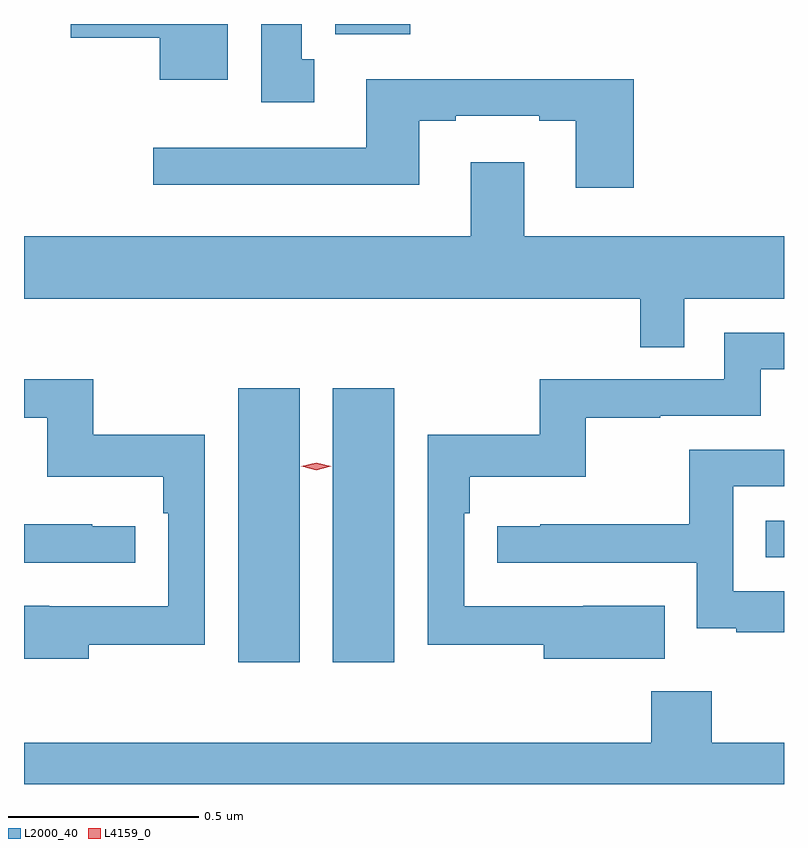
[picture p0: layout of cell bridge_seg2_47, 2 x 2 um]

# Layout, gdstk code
import gdstk
lib = gdstk.Library(unit=1e-6, precision=1e-09)
def R(c, l, rs):  # rectangles x0, y0, x1, y1
    for r in rs: c.add(gdstk.rectangle(r[:2], r[2:], *l))
def P(c, l, *ps):  # polygons
    for p in ps: c.add(gdstk.Polygon(p, *l))
L2000_40 = (2000, 40)
L4159_0 = (4159, 0)

bridge_seg2_47 = lib.new_cell('bridge_seg2_47')
R(bridge_seg2_47, L2000_40, [(976.073,617.376,976.234,618.097), (976.322,617.376,976.483,618.097), (977.461,617.652,977.509,617.748), (976.328,619.028,976.525,619.055)])
P(bridge_seg2_47, L2000_40, [(976.273,618.962),(976.24,618.962),(976.24,619.055),(976.133,619.055),(976.133,618.849),(976.273,618.849)],
  [(976.045,619.055),(975.632,619.055),(975.632,619.019),(975.866,619.019),(975.866,618.908),(976.045,618.908)],
  [(977.114,618.91),(976.409,618.91),(976.409,618.729),(975.849,618.729),(975.849,618.632),(976.549,618.632),(976.549,618.801),(976.645,618.801),(976.645,618.813),(976.865,618.813),(976.865,618.801),(976.961,618.801),(976.961,618.624),(977.114,618.624)],
  [(977.247,618.332),(977.509,618.332),(977.509,618.496),(976.825,618.496),(976.825,618.691),(976.685,618.691),(976.685,618.496),(975.509,618.496),(975.509,618.332),(977.131,618.332),(977.131,618.205),(977.247,618.205)],
  [(977.195,617.524),(976.981,617.524),(976.981,617.523),(976.668,617.523),(976.668,617.768),(976.682,617.768),(976.682,617.864),(976.987,617.864),(976.987,618.019),(977.183,618.019),(977.183,618.024),(977.448,618.024),(977.448,618.147),(977.509,618.147),(977.509,618.243),(977.352,618.243),(977.352,618.12),(976.866,618.12),(976.866,617.974),(976.572,617.974),(976.572,617.422),(976.877,617.422),(976.877,617.384),(977.195,617.384)],
  [(975.679,617.422),(975.984,617.422),(975.984,617.974),(975.691,617.974),(975.691,618.12),(975.509,618.12),(975.509,618.019),(975.57,618.019),(975.57,617.864),(975.875,617.864),(975.875,617.768),(975.888,617.768),(975.888,617.523),(975.575,617.523),(975.575,617.524),(975.509,617.524),(975.509,617.384),(975.679,617.384)],
  [(977.509,617.562),(977.376,617.562),(977.376,617.838),(977.509,617.838),(977.509,617.934),(977.26,617.934),(977.26,617.738),(976.867,617.738),(976.867,617.733),(976.755,617.733),(976.755,617.637),(977.28,617.637),(977.28,617.465),(977.383,617.465),(977.383,617.454),(977.509,617.454)],
  [(975.802,617.733),(975.689,617.733),(975.689,617.738),(975.509,617.738),(975.509,617.637),(975.802,617.637)],
  [(977.509,617.164),(977.319,617.164),(977.319,617.299),(977.159,617.299),(977.159,617.164),(975.509,617.164),(975.509,617.055),(977.509,617.055)])
P(bridge_seg2_47, L4159_0, [(976.278,617.881),(976.238,617.891),(976.238,617.891),(976.238,617.891),(976.278,617.901),(976.318,617.891),(976.318,617.891),(976.318,617.891)])

lib.write_gds('bridge_seg2_47.gds')
